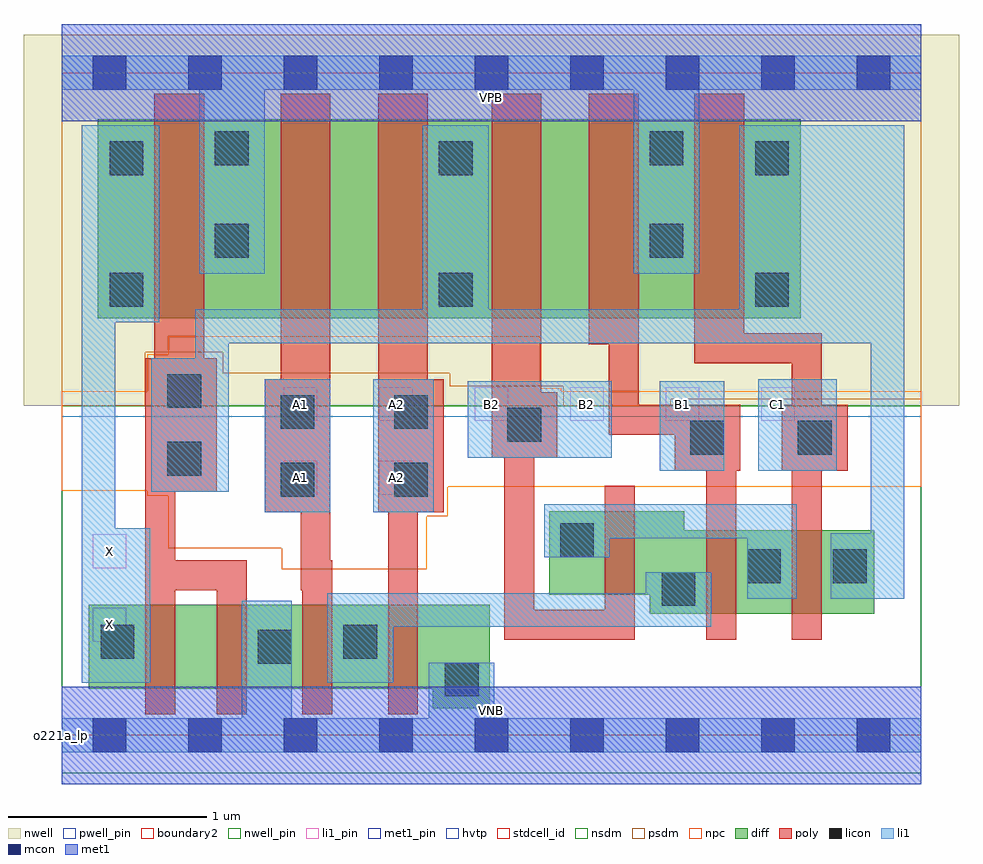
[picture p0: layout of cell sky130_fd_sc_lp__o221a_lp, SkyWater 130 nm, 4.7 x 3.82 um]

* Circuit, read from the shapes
.subckt sky130_fd_sc_lp__o221a_lp A1 A2 B1 B2 C1 VGND VNB VPB VPWR X
XM1 n1 n2 X VNB sky130_fd_pr__nfet_01v8 w=0.42 l=0.15
XM2 VGND n2 n1 VNB sky130_fd_pr__nfet_01v8 w=0.42 l=0.15
XM3 n3 A1 VGND VNB sky130_fd_pr__nfet_01v8 w=0.42 l=0.15
XM4 VGND A2 n3 VNB sky130_fd_pr__nfet_01v8 w=0.42 l=0.15
XM5 n3 B2 n4 VNB sky130_fd_pr__nfet_01v8 w=0.42 l=0.15
XM6 n4 B1 n3 VNB sky130_fd_pr__nfet_01v8 w=0.42 l=0.15
XM7 n2 C1 n4 VNB sky130_fd_pr__nfet_01v8 w=0.42 l=0.15
XM8 VPWR n2 X VPB sky130_fd_pr__pfet_01v8_hvt w=1 l=0.25
XM9 n5 A1 VPWR VPB sky130_fd_pr__pfet_01v8_hvt w=1 l=0.25
XM10 n2 A2 n5 VPB sky130_fd_pr__pfet_01v8_hvt w=1 l=0.25
XM11 n6 B2 n2 VPB sky130_fd_pr__pfet_01v8_hvt w=1 l=0.25
XM12 VPWR B1 n6 VPB sky130_fd_pr__pfet_01v8_hvt w=1 l=0.25
XM13 n2 C1 VPWR VPB sky130_fd_pr__pfet_01v8_hvt w=1 l=0.25
.ends

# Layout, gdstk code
import gdstk
lib = gdstk.Library(unit=1e-6, precision=1e-09)
def R(c, l, rs):  # rectangles x0, y0, x1, y1
    for r in rs: c.add(gdstk.rectangle(r[:2], r[2:], *l))
def A(c, l, x, y, w, h, nx, ny, dx, dy):  # array of equal rectangles
    R(c, l, [(x+i*dx, y+j*dy, x+i*dx+w, y+j*dy+h) for i in range(nx) for j in range(ny)])
def P(c, l, *ps):  # polygons
    for p in ps: c.add(gdstk.Polygon(p, *l))
nwell_pin = (64, 16)
nwell = (64, 20)
diff = (65, 20)
poly = (66, 20)
licon = (66, 44)
li1_pin = (67, 16)
li1 = (67, 20)
mcon = (67, 44)
met1_pin = (68, 16)
met1 = (68, 20)
hvtp = (78, 44)
stdcell_id = (81, 4)
nsdm = (93, 44)
psdm = (94, 20)
npc = (95, 20)
pwell_pin = (122, 16)
boundary2 = (236, 0)

sky130_fd_sc_lp__o221a_l = lib.new_cell('sky130_fd_sc_lp__o221a_lp')
R(sky130_fd_sc_lp__o221a_l, nwell_pin, [(0,3.085,4.32,3.33)])
R(sky130_fd_sc_lp__o221a_l, nwell, [(-0.19,1.655,4.51,3.52)])
R(sky130_fd_sc_lp__o221a_l, diff, [(0.18,2.095,3.715,3.095)])
P(sky130_fd_sc_lp__o221a_l, diff, [(2.15,0.655),(0.135,0.655),(0.135,0.235),(1.865,0.235),(1.865,0.135),(2.15,0.135)],
  [(4.085,1.03),(3.13,1.03),(3.13,1.125),(2.45,1.125),(2.45,0.705),(2.955,0.705),(2.955,0.61),(4.085,0.61)])
P(sky130_fd_sc_lp__o221a_l, poly, [(0.93,0.88),(0.57,0.88),(0.57,1.225),(0.78,1.225),(0.78,1.895),(0.715,1.895),(0.715,3.225),(0.465,3.225),(0.465,1.895),(0.42,1.895),(0.42,0.105),(0.57,0.105),(0.57,0.73),(0.78,0.73),(0.78,0.105),(0.93,0.105)],
  [(1.36,0.88),(1.35,0.88),(1.35,3.225),(1.1,3.225),(1.1,1.79),(1.02,1.79),(1.02,1.12),(1.2,1.12),(1.2,0.73),(1.21,0.73),(1.21,0.105),(1.36,0.105)],
  [(1.92,1.79),(1.84,1.79),(1.84,3.225),(1.59,3.225),(1.59,1.12),(1.64,1.12),(1.64,0.105),(1.79,0.105),(1.79,1.12),(1.92,1.12)],
  [(2.88,1.255),(2.73,1.255),(2.73,0.63),(2.375,0.63),(2.375,1.395),(2.49,1.395),(2.49,1.725),(2.41,1.725),(2.41,3.225),(2.16,3.225),(2.16,1.395),(2.225,1.395),(2.225,0.48),(2.88,0.48)],
  [(3.41,1.66),(2.9,1.66),(2.9,3.225),(2.65,3.225),(2.65,1.965),(2.75,1.965),(2.75,1.51),(3.08,1.51),(3.08,1.33),(3.24,1.33),(3.24,0.48),(3.39,0.48),(3.39,1.33),(3.41,1.33)],
  [(3.82,1.33),(3.95,1.33),(3.95,1.66),(3.82,1.66),(3.82,2.02),(3.43,2.02),(3.43,3.225),(3.18,3.225),(3.18,1.87),(3.67,1.87),(3.67,1.66),(3.62,1.66),(3.62,1.33),(3.67,1.33),(3.67,0.48),(3.82,0.48)],
  [(1.92,1.79),(1.84,1.79),(1.84,3.225),(1.59,3.225),(1.59,1.12),(1.64,1.12),(1.64,0.105),(1.79,0.105),(1.79,1.12),(1.92,1.12)],
  [(1.92,1.79),(1.84,1.79),(1.84,3.225),(1.59,3.225),(1.59,1.12),(1.64,1.12),(1.64,0.105),(1.79,0.105),(1.79,1.12),(1.92,1.12)])
R(sky130_fd_sc_lp__o221a_l, licon, [(1.925,0.195,2.095,0.365), (0.985,0.36,1.155,0.53), (0.195,0.385,0.365,0.555), (1.415,0.385,1.585,0.555), (3.015,0.65,3.185,0.82), (3.445,0.765,3.615,0.935), (3.875,0.765,4.045,0.935), (2.505,0.895,2.675,1.065), (1.1,1.2,1.27,1.37), (1.67,1.2,1.84,1.37), (0.53,1.305,0.7,1.475), (3.16,1.41,3.33,1.58), (3.7,1.41,3.87,1.58), (2.24,1.475,2.41,1.645), (1.1,1.54,1.27,1.71), (1.67,1.54,1.84,1.71), (0.53,1.645,0.7,1.815), (0.24,2.155,0.41,2.325), (1.895,2.155,2.065,2.325), (3.485,2.155,3.655,2.325), (0.77,2.4,0.94,2.57), (2.955,2.4,3.125,2.57), (0.24,2.815,0.41,2.985), (1.895,2.815,2.065,2.985), (3.485,2.815,3.655,2.985), (0.77,2.865,0.94,3.035), (2.955,2.865,3.125,3.035)])
A(sky130_fd_sc_lp__o221a_l, li1_pin, 1.115, 1.58, 0.17, 0.17, 6, 1, 0.48, 0)
R(sky130_fd_sc_lp__o221a_l, li1_pin, [(0.155,0.47,0.325,0.64), (0.155,0.84,0.325,1.01), (1.115,1.21,1.285,1.38), (1.595,1.21,1.765,1.38)])
R(sky130_fd_sc_lp__o221a_l, li1, [(1.02,1.12,1.35,1.79), (1.565,1.12,1.87,1.79), (3.005,1.33,3.33,1.78), (3.5,1.33,3.895,1.79), (2.04,1.395,2.765,1.78)])
P(sky130_fd_sc_lp__o221a_l, li1, [(2.875,2.32),(2.875,3.245),(1.02,3.245),(1.02,2.32),(0.69,2.32),(0.69,3.245),(0,3.245),(0,3.415),(4.32,3.415),(4.32,3.245),(3.205,3.245),(3.205,2.32)],
  [(1.845,0.085),(1.845,0.365),(2.175,0.365),(2.175,0.085),(4.32,0.085),(4.32,-0.085),(0,-0.085),(0,0.085),(0.905,0.085),(0.905,0.675),(1.155,0.675),(1.155,0.085)],
  [(1.815,2.14),(1.815,3.065),(2.145,3.065),(2.145,2.14),(3.405,2.14),(3.405,3.065),(4.235,3.065),(4.235,0.685),(3.865,0.685),(3.865,1.015),(4.065,1.015),(4.065,1.97),(0.84,1.97),(0.84,1.225),(0.45,1.225),(0.45,1.895),(0.67,1.895),(0.67,2.14)],
  [(3.445,0.685),(3.445,0.99),(2.755,0.99),(2.755,0.895),(2.425,0.895),(2.425,1.16),(3.695,1.16),(3.695,0.685)],
  [(1.335,0.265),(1.335,0.715),(2.935,0.715),(2.935,0.82),(3.265,0.82),(3.265,0.545),(1.665,0.545),(1.665,0.265)],
  [(0.27,2.075),(0.27,1.04),(0.445,1.04),(0.445,0.265),(0.1,0.265),(0.1,3.065),(0.49,3.065),(0.49,2.075)])
A(sky130_fd_sc_lp__o221a_l, mcon, 0.155, -0.085, 0.17, 0.17, 9, 2, 0.48, 3.33)
R(sky130_fd_sc_lp__o221a_l, met1_pin, [(0,0,4.32,0.245), (0,3.085,4.32,3.33)])
R(sky130_fd_sc_lp__o221a_l, met1, [(0,-0.245,4.32,0.245), (0,3.085,4.32,3.575)])
R(sky130_fd_sc_lp__o221a_l, hvtp, [(0,1.6,4.32,3.33)])
R(sky130_fd_sc_lp__o221a_l, stdcell_id, [(0,0,4.32,3.33)])
R(sky130_fd_sc_lp__o221a_l, nsdm, [(0,-0.19,4.32,1.655)])
P(sky130_fd_sc_lp__o221a_l, psdm, [(4.32,3.52),(0,3.52),(0,1.655),(0.42,1.655),(0.42,1.925),(0.81,1.925),(0.81,1.82),(1.95,1.82),(1.95,1.755),(2.52,1.755),(2.52,1.655),(3.06,1.655),(3.06,1.69),(4.32,1.69)])
P(sky130_fd_sc_lp__o221a_l, npc, [(4.32,1.73),(2.51,1.73),(2.51,1.745),(2.405,1.745),(2.405,2.005),(0.535,2.005),(0.535,1.915),(0.43,1.915),(0.43,1.73),(0,1.73),(0,1.23),(0.43,1.23),(0.43,1.205),(0.535,1.205),(0.535,0.94),(1.105,0.94),(1.105,0.835),(1.835,0.835),(1.835,1.1),(1.94,1.1),(1.94,1.25),(4.32,1.25)])
R(sky130_fd_sc_lp__o221a_l, pwell_pin, [(0,0,4.32,0.245)])
R(sky130_fd_sc_lp__o221a_l, boundary2, [(0,0,4.32,3.33)])
sky130_fd_sc_lp__o221a_l.add(gdstk.Label('VNB', (2.16,0.123), layer=64, texttype=59))
sky130_fd_sc_lp__o221a_l.add(gdstk.Label('VPB', (2.16,3.208), layer=64, texttype=5))
sky130_fd_sc_lp__o221a_l.add(gdstk.Label('o221a_lp', (0,0), layer=83, texttype=44))
sky130_fd_sc_lp__o221a_l.add(gdstk.Label('VPWR', (2.16,3.208), layer=68, texttype=5))
sky130_fd_sc_lp__o221a_l.add(gdstk.Label('VGND', (2.16,0.123), layer=68, texttype=5))
sky130_fd_sc_lp__o221a_l.add(gdstk.Label('C1', (3.6,1.665), layer=67, texttype=5))
sky130_fd_sc_lp__o221a_l.add(gdstk.Label('B2', (2.16,1.665), layer=67, texttype=5))
sky130_fd_sc_lp__o221a_l.add(gdstk.Label('B1', (3.12,1.665), layer=67, texttype=5))
sky130_fd_sc_lp__o221a_l.add(gdstk.Label('A2', (1.68,1.295), layer=67, texttype=5))
sky130_fd_sc_lp__o221a_l.add(gdstk.Label('A2', (1.68,1.665), layer=67, texttype=5))
sky130_fd_sc_lp__o221a_l.add(gdstk.Label('X', (0.24,0.555), layer=67, texttype=5))
sky130_fd_sc_lp__o221a_l.add(gdstk.Label('X', (0.24,0.925), layer=67, texttype=5))
sky130_fd_sc_lp__o221a_l.add(gdstk.Label('A1', (1.2,1.295), layer=67, texttype=5))
sky130_fd_sc_lp__o221a_l.add(gdstk.Label('A1', (1.2,1.665), layer=67, texttype=5))
sky130_fd_sc_lp__o221a_l.add(gdstk.Label('B2', (2.64,1.665), layer=67, texttype=5))

lib.write_gds('sky130_fd_sc_lp__o221a_lp.gds')
